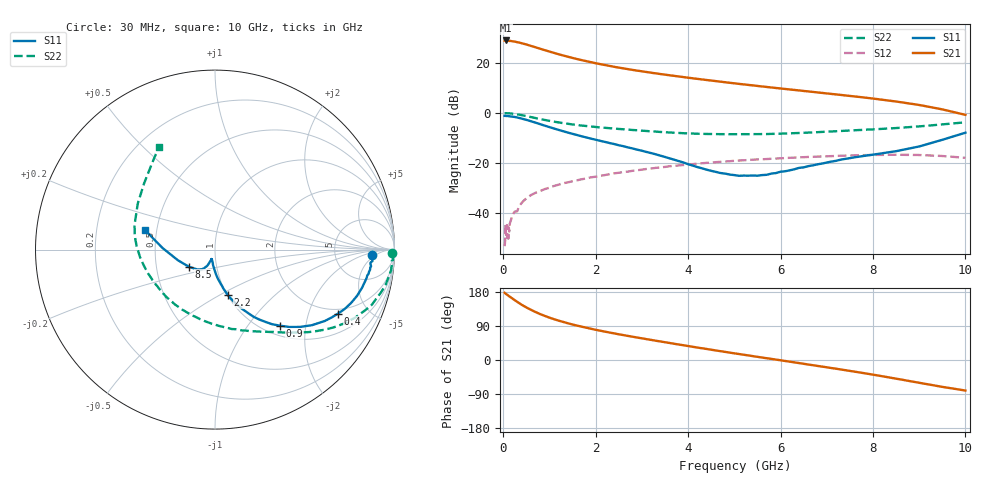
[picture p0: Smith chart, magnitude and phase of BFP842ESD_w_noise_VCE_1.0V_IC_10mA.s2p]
! Infineon Technologies  Discrete & RF Semiconductors
! BFP842ESD
! VCE =  1.0 V,  IC =  10 mA
! Common Emitter S-Parameters:  May 2012
# GHz  S  MA  R  50
!  f  S11  S21  S12  S22
! GHz  MAG  ANG  MAG  ANG  MAG  ANG  MAG  ANG
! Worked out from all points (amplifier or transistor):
!   99 points, 30 MHz to 10 GHz, reference 50 ohm
!   highest |S21| = 29.0 dB at 60 MHz (marker M1)
!   |S21| within 3 dB of that: start of sweep to 746.3 MHz
!   unconditionally stable (mu >= 1): 2.628 GHz to end of sweep
!   at 350 MHz: K = 0.26, MSG = 32.6 dB, |S12| = -37.1 dB
!   at 3.5 GHz: K = 1.09, MAG = 16.6 dB, |S12| = -21.5 dB
!   at 10 GHz: K = 2.03, MAG = 2.8 dB, |S12| = -17.9 dB
!   lowest NFmin = 0.59 dB at 450 MHz
!   S11 on the Smith chart (normalised r, x): 30 MHz: 14, -4; 400 MHz: 1.78, -3.15; 900 MHz: 1.18, -1.45; 2.2 GHz: 1.01, -0.55; 8.5 GHz: 0.74, -0.15; 10 GHz: 0.43, +0.11
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0.03  0.8763 -2.0  27.8 177.3  0.0022 98.2  0.9887 -1.2
0.05  0.8797 -4.2  27.61 175.1  0.0059 90.3  0.9911 -2.6
0.06  0.8717 -4.6  28.03 174.2  0.0037 39.9  0.9941 -3.3
0.09  0.8708 -6.6  27.42 171.9  0.0032 80.1  0.9891 -4.7
0.11  0.8667 -8.3  27.81 169.8  0.0031 93.4  0.9878 -6.2
0.15  0.8577 -11.1  27.48 166.3  0.0065 81.1  0.9804 -8.6
0.25  0.8325 -18.0  26.62 157.8  0.0108 78.8  0.9562 -14.3
0.4  0.7727 -27.5  24.67 145.8  0.0161 73.4  0.9052 -21.7
0.5  0.7298 -33.0  23.31 138.8  0.0198 71.5  0.8679 -25.9
0.6  0.6852 -37.9  21.82 132.4  0.023 67.9  0.8297 -29.7
0.7  0.6413 -42.2  20.47 126.6  0.0256 64.1  0.7921 -33.1
0.9  0.5586 -49.4  17.94 116.3  0.0303 61.3  0.7259 -38.7
1.2  0.4594 -57.8  14.86 103.8  0.0372 55.9  0.6483 -45.4
1.4  0.4063 -61.9  13.27 96.9  0.0413 54.2  0.6086 -49.4
1.7  0.3418 -67.1  11.34 87.9  0.0477 51.3  0.5612 -54.8
2.2  0.2652 -74.1  9.074 74.9  0.0577 46.3  0.5068 -64.0
2.7  0.2054 -79.1  7.497 63.5  0.0677 42.1  0.4658 -73.7
3.4  0.1409 -87.3  6 48.9  0.082 34.0  0.4184 -89.8
5.1  0.0558 -109.0  3.817 15.8  0.1126 12.6  0.3771 -133.8
6.7  0.0901 -114.2  2.635 -13.7  0.1335 -8.6  0.4105 -169.8
8.5  0.1729 -146.0  1.696 -49.2  0.1467 -38.1  0.5007 149.3
10  0.4043 164.5  0.918 -80.6  0.1276 -68.1  0.6515 118.7
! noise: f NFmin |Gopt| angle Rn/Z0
0.45  0.59  0.14  2  0.09
0.9  0.59  0.14  5  0.09
1.5  0.61  0.15  13  0.09
1.9  0.62  0.14  21  0.08
2.4  0.63  0.12  27  0.08
3.5  0.71  0.05  116  0.08
4  0.74  0.06  139  0.08
5  0.8  0.07  -173  0.08
5.5  0.92  0.08  -153  0.09
6  1.03  0.1  -143  0.09
